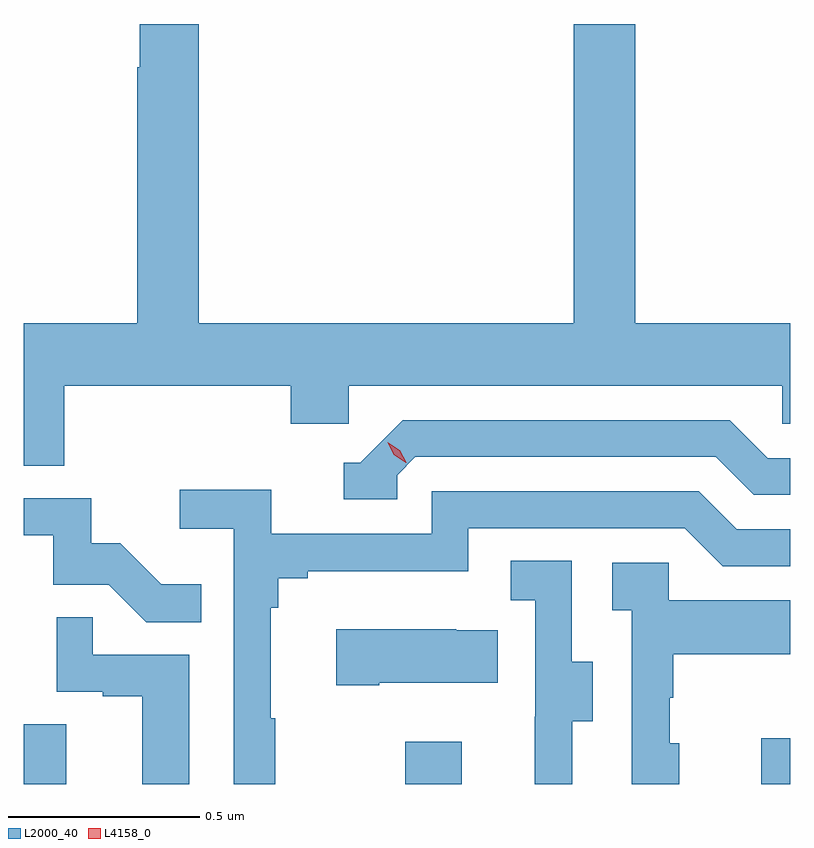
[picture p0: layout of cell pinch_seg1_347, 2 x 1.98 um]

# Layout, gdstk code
import gdstk
lib = gdstk.Library(unit=1e-6, precision=1e-09)
def R(c, l, rs):  # rectangles x0, y0, x1, y1
    for r in rs: c.add(gdstk.rectangle(r[:2], r[2:], *l))
def P(c, l, *ps):  # polygons
    for p in ps: c.add(gdstk.Polygon(p, *l))
L2000_40 = (2000, 40)
L4158_0 = (4158, 0)

pinch_seg1_347 = lib.new_cell('pinch_seg1_347')
R(pinch_seg1_347, L2000_40, [(952.708,561.35,952.819,561.506), (953.704,561.35,953.851,561.46), (954.632,561.35,954.708,561.469)])
P(pinch_seg1_347, L2000_40, [(952.814,562.388),(953.405,562.388),(953.405,562.29),(953.556,562.29),(953.556,562.388),(954.687,562.388),(954.687,562.29),(954.708,562.29),(954.708,562.552),(954.303,562.552),(954.303,563.332),(954.143,563.332),(954.143,562.552),(953.165,562.552),(953.165,563.332),(953.011,563.332),(953.011,563.219),(953.005,563.219),(953.005,562.552),(952.708,562.552),(952.708,562.18),(952.814,562.18)],
  [(953.682,562.155),(953.73,562.203),(954.513,562.203),(954.612,562.104),(954.708,562.104),(954.708,562.2),(954.649,562.2),(954.55,562.299),(953.697,562.299),(953.586,562.188),(953.543,562.188),(953.543,562.092),(953.682,562.092)],
  [(953.365,561.521),(953.353,561.521),(953.353,561.809),(953.372,561.809),(953.372,561.886),(953.449,561.886),(953.449,561.905),(953.868,561.905),(953.868,562.017),(954.432,562.017),(954.531,561.918),(954.708,561.918),(954.708,562.014),(954.568,562.014),(954.469,562.113),(953.772,562.113),(953.772,562.002),(953.354,562.002),(953.354,562.118),(953.115,562.118),(953.115,562.016),(953.256,562.016),(953.256,561.35),(953.365,561.35)],
  [(953.171,561.871),(953.067,561.871),(952.96,561.978),(952.884,561.978),(952.884,562.095),(952.708,562.095),(952.708,561.999),(952.785,561.999),(952.785,561.87),(952.93,561.87),(953.028,561.772),(953.171,561.772)],
  [(954.139,561.514),(954.193,561.514),(954.193,561.669),(954.138,561.669),(954.138,561.932),(953.979,561.932),(953.979,561.829),(954.042,561.829),(954.042,561.525),(954.041,561.525),(954.041,561.35),(954.139,561.35)],
  [(954.418,561.456),(954.393,561.456),(954.393,561.575),(954.403,561.575),(954.403,561.689),(954.708,561.689),(954.708,561.829),(954.39,561.829),(954.39,561.927),(954.243,561.927),(954.243,561.803),(954.294,561.803),(954.294,561.35),(954.418,561.35)],
  [(953.14,561.687),(952.889,561.687),(952.889,561.785),(952.794,561.785),(952.794,561.591),(952.915,561.591),(952.915,561.579),(953.018,561.579),(953.018,561.35),(953.14,561.35)],
  [(953.635,561.614),(953.945,561.614),(953.945,561.751),(953.837,561.751),(953.837,561.754),(953.523,561.754),(953.523,561.607),(953.635,561.607)])
P(pinch_seg1_347, L4158_0, [(953.705,562.188),(953.674,562.208),(953.658,562.24),(953.658,562.241),(953.658,562.241),(953.689,562.221),(953.706,562.189),(953.706,562.188)])

lib.write_gds('pinch_seg1_347.gds')
